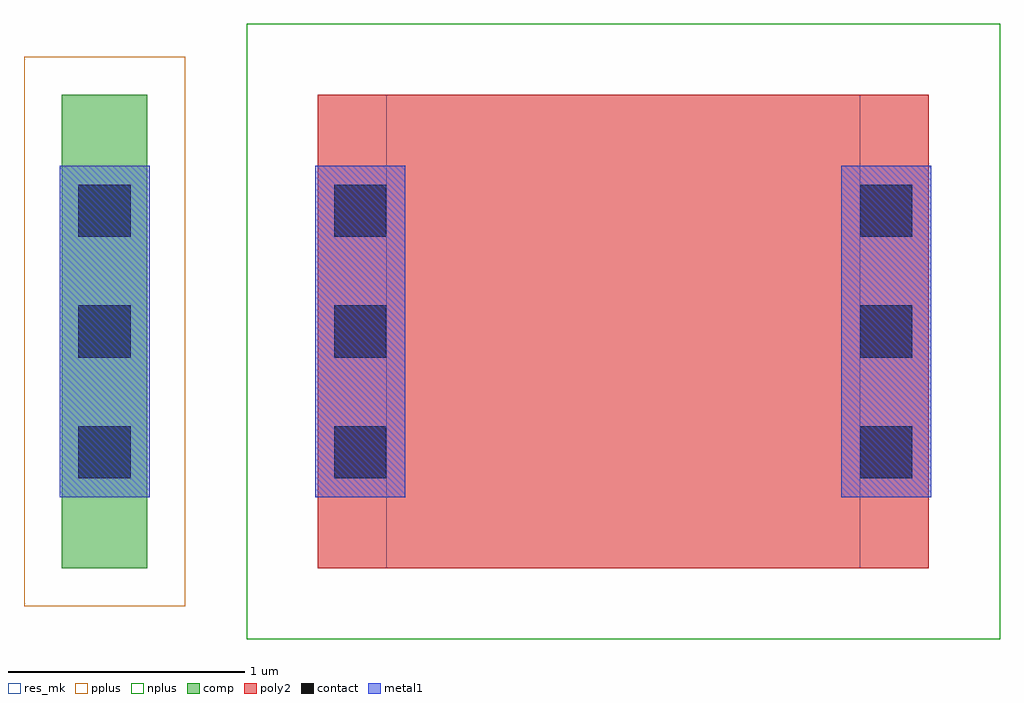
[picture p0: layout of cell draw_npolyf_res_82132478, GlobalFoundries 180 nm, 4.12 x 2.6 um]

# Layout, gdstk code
import gdstk
lib = gdstk.Library(unit=1e-6, precision=1e-09)
def R(c, l, rs):  # rectangles x0, y0, x1, y1
    for r in rs: c.add(gdstk.rectangle(r[:2], r[2:], *l))
def A(c, l, x, y, w, h, nx, ny, dx, dy):  # array of equal rectangles
    R(c, l, [(x+i*dx, y+j*dy, x+i*dx+w, y+j*dy+h) for i in range(nx) for j in range(ny)])
comp = (22, 0)
poly2 = (30, 0)
pplus = (31, 0)
nplus = (32, 0)
contact = (33, 0)
metal1 = (34, 0)
res_mk = (110, 5)

draw_npolyf_res_82132478 = lib.new_cell('draw_npolyf_res_82132478')
R(draw_npolyf_res_82132478, comp, [(-1.37,0,-1.01,2)])
R(draw_npolyf_res_82132478, poly2, [(-0.29,0,2.29,2)])
R(draw_npolyf_res_82132478, pplus, [(-1.53,-0.16,-0.85,2.16)])
R(draw_npolyf_res_82132478, nplus, [(-0.59,-0.3,2.59,2.3)])
A(draw_npolyf_res_82132478, contact, -1.3, 0.38, 0.22, 0.22, 1, 3, 0, 0.51)
A(draw_npolyf_res_82132478, contact, -0.22, 0.38, 0.22, 0.22, 1, 3, 0, 0.51)
A(draw_npolyf_res_82132478, contact, 2, 0.38, 0.22, 0.22, 1, 3, 0, 0.51)
R(draw_npolyf_res_82132478, metal1, [(-1.38,0.3,-1,1.7), (-0.3,0.3,0.08,1.7), (1.92,0.3,2.3,1.7)])
R(draw_npolyf_res_82132478, res_mk, [(0,0,2,2)])

lib.write_gds('draw_npolyf_res_82132478.gds')
